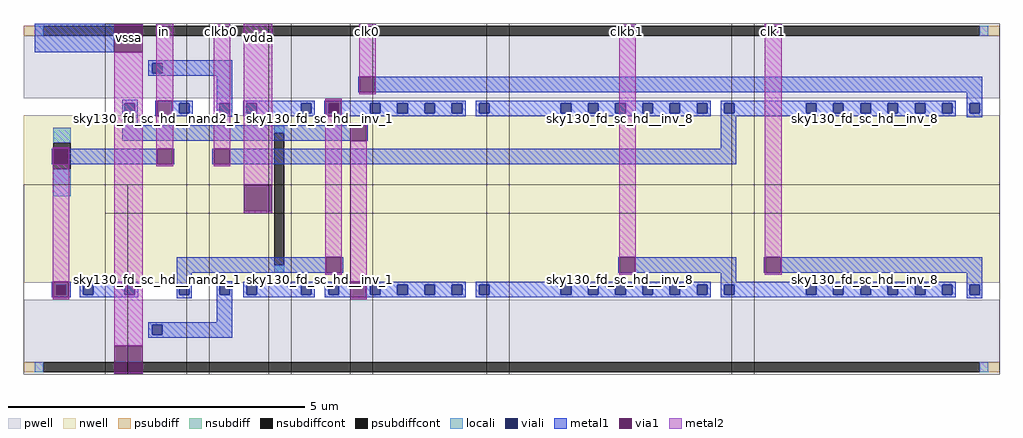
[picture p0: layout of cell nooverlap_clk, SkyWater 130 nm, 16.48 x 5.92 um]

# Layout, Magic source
magic
tech sky130A
magscale 1 2
<< nwell >>
rect -562 89 7 92
rect 13 89 2734 92
rect -562 -473 2734 89
<< pwell >>
rect -562 150 2734 360
rect -562 -742 2734 -532
<< psubdiff >>
rect -562 360 -495 394
rect 2667 360 2734 394
rect -562 -776 -495 -742
rect 2667 -776 2734 -742
<< nsubdiff >>
rect -461 -1 -403 49
rect -461 -143 -403 -91
rect 284 32 318 56
rect 284 -438 318 -414
<< psubdiffcont >>
rect -495 360 2667 394
rect -495 -776 2667 -742
<< nsubdiffcont >>
rect -461 -91 -403 -1
rect 284 -414 318 32
<< locali >>
rect -524 360 -495 394
rect 2667 360 2696 394
rect -461 -1 -403 49
rect -461 -182 -403 -91
rect 284 32 318 56
rect 284 -438 318 -414
rect -524 -776 -495 -742
rect 2667 -776 2696 -742
<< viali >>
rect -128 234 -94 268
rect -220 98 -186 132
rect -36 98 -2 132
rect 100 98 134 132
rect 192 98 226 132
rect 376 98 410 132
rect 468 98 502 132
rect 609 98 643 132
rect 701 98 735 132
rect 793 98 827 132
rect 885 98 919 132
rect 977 98 1011 132
rect 1253 98 1287 132
rect 1345 98 1379 132
rect 1437 98 1471 132
rect 1529 98 1563 132
rect 1621 98 1655 132
rect 1713 98 1747 132
rect 1805 98 1839 132
rect 2081 98 2115 132
rect 2173 98 2207 132
rect 2265 98 2299 132
rect 2357 98 2391 132
rect 2449 98 2483 132
rect 2541 98 2575 132
rect 2633 98 2667 132
rect -452 -514 -418 -480
rect -360 -514 -326 -480
rect -220 -514 -186 -480
rect -36 -514 -2 -480
rect 100 -514 134 -480
rect 192 -514 226 -480
rect 376 -514 410 -480
rect 468 -514 502 -480
rect 609 -514 643 -480
rect 701 -514 735 -480
rect 793 -514 827 -480
rect 885 -514 919 -480
rect 977 -514 1011 -480
rect 1253 -514 1287 -480
rect 1345 -514 1379 -480
rect 1437 -514 1471 -480
rect 1529 -514 1563 -480
rect 1621 -514 1655 -480
rect 1713 -514 1747 -480
rect 1805 -514 1839 -480
rect 2081 -514 2115 -480
rect 2173 -514 2207 -480
rect 2265 -514 2299 -480
rect 2357 -514 2391 -480
rect 2449 -514 2483 -480
rect 2541 -514 2575 -480
rect 2633 -514 2667 -480
rect -128 -650 -94 -616
<< metal1 >>
rect -524 395 -248 401
rect -524 305 -255 395
rect -140 268 143 277
rect -140 234 -128 268
rect -94 234 143 268
rect -140 225 143 234
rect -229 132 -177 144
rect -229 98 -220 132
rect -186 98 -177 132
rect -229 58 -177 98
rect -117 89 -111 141
rect -59 132 10 141
rect -59 98 -36 132
rect -2 98 10 132
rect -59 89 10 98
rect 91 132 143 225
rect 568 169 574 221
rect 626 169 2676 221
rect 91 98 100 132
rect 134 98 143 132
rect 91 86 143 98
rect 180 132 422 141
rect 180 98 192 132
rect 226 98 376 132
rect 410 98 422 132
rect 180 89 422 98
rect 453 89 459 141
rect 511 132 931 141
rect 511 98 609 132
rect 643 98 701 132
rect 735 98 793 132
rect 827 98 885 132
rect 919 98 931 132
rect 511 89 931 98
rect 965 132 1759 141
rect 965 98 977 132
rect 1011 98 1253 132
rect 1287 98 1345 132
rect 1379 98 1437 132
rect 1471 98 1529 132
rect 1563 98 1621 132
rect 1655 98 1713 132
rect 1747 98 1759 132
rect 965 89 1759 98
rect 1793 132 2587 141
rect 1793 98 1805 132
rect 1839 98 2081 132
rect 2115 98 2173 132
rect 2207 98 2265 132
rect 2299 98 2357 132
rect 2391 98 2449 132
rect 2483 98 2541 132
rect 2575 98 2587 132
rect 1793 89 2587 98
rect 2624 132 2676 169
rect 2624 98 2633 132
rect 2667 98 2676 132
rect -229 6 543 58
rect 595 6 601 58
rect 1793 -22 1845 89
rect 2624 85 2676 98
rect -467 -74 -461 -22
rect -409 -74 -111 -22
rect -59 -74 -53 -22
rect 76 -74 82 -22
rect 134 -74 1845 -22
rect -45 -440 459 -388
rect 511 -440 517 -388
rect 1446 -440 1452 -388
rect 1504 -440 1845 -388
rect 1938 -440 1944 -388
rect 1996 -440 2676 -388
rect -467 -523 -461 -471
rect -409 -523 -403 -471
rect -372 -480 -174 -471
rect -372 -514 -360 -480
rect -326 -514 -220 -480
rect -186 -514 -174 -480
rect -372 -523 -174 -514
rect -45 -480 7 -440
rect -45 -514 -36 -480
rect -2 -514 7 -480
rect -45 -526 7 -514
rect 91 -480 143 -468
rect 1793 -471 1845 -440
rect 91 -514 100 -480
rect 134 -514 143 -480
rect 91 -607 143 -514
rect 180 -480 422 -471
rect 180 -514 192 -480
rect 226 -514 376 -480
rect 410 -514 422 -480
rect 180 -523 422 -514
rect 456 -480 543 -471
rect 456 -514 468 -480
rect 502 -514 543 -480
rect 456 -523 543 -514
rect 595 -480 931 -471
rect 595 -514 609 -480
rect 643 -514 701 -480
rect 735 -514 793 -480
rect 827 -514 885 -480
rect 919 -514 931 -480
rect 595 -523 931 -514
rect 965 -480 1759 -471
rect 965 -514 977 -480
rect 1011 -514 1253 -480
rect 1287 -514 1345 -480
rect 1379 -514 1437 -480
rect 1471 -514 1529 -480
rect 1563 -514 1621 -480
rect 1655 -514 1713 -480
rect 1747 -514 1759 -480
rect 965 -523 1759 -514
rect 1793 -480 2587 -471
rect 1793 -514 1805 -480
rect 1839 -514 2081 -480
rect 2115 -514 2173 -480
rect 2207 -514 2265 -480
rect 2299 -514 2357 -480
rect 2391 -514 2449 -480
rect 2483 -514 2541 -480
rect 2575 -514 2587 -480
rect 1793 -523 2587 -514
rect 2624 -480 2676 -440
rect 2624 -514 2633 -480
rect 2667 -514 2676 -480
rect 2624 -526 2676 -514
rect -140 -616 143 -607
rect -140 -650 -128 -616
rect -94 -650 143 -616
rect -140 -659 143 -650
<< via1 >>
rect -255 305 -159 395
rect -111 89 -59 141
rect 574 169 626 221
rect 459 132 511 141
rect 459 98 468 132
rect 468 98 502 132
rect 502 98 511 132
rect 459 89 511 98
rect 543 6 595 58
rect -461 -74 -409 -22
rect -111 -74 -59 -22
rect 82 -74 134 -22
rect 182 -233 278 -143
rect 459 -440 511 -388
rect 1452 -440 1504 -388
rect 1944 -440 1996 -388
rect -461 -480 -409 -471
rect -461 -514 -452 -480
rect -452 -514 -418 -480
rect -418 -514 -409 -480
rect -461 -523 -409 -514
rect 543 -523 595 -471
rect -255 -777 -159 -687
<< metal2 >>
rect -255 395 -159 401
rect -463 -22 -407 -16
rect -463 -74 -461 -22
rect -409 -74 -407 -22
rect -463 -471 -407 -74
rect -463 -523 -461 -471
rect -409 -523 -407 -471
rect -463 -529 -407 -523
rect -255 -687 -159 305
rect -113 141 -57 401
rect -113 89 -111 141
rect -59 89 -57 141
rect -113 -22 -57 89
rect -113 -74 -111 -22
rect -59 -74 -57 -22
rect -113 -80 -57 -74
rect 80 -22 136 401
rect 80 -74 82 -22
rect 134 -74 136 -22
rect 80 -80 136 -74
rect 182 -143 278 401
rect 572 221 628 401
rect 572 169 574 221
rect 626 169 628 221
rect 572 163 628 169
rect 182 -239 278 -233
rect 457 141 513 147
rect 457 89 459 141
rect 511 89 513 141
rect 457 -388 513 89
rect 457 -440 459 -388
rect 511 -440 513 -388
rect 457 -446 513 -440
rect 541 58 597 64
rect 541 6 543 58
rect 595 6 597 58
rect 541 -471 597 6
rect 1450 -388 1506 401
rect 1450 -440 1452 -388
rect 1504 -440 1506 -388
rect 1450 -446 1506 -440
rect 1942 -388 1998 401
rect 1942 -440 1944 -388
rect 1996 -440 1998 -388
rect 1942 -446 1998 -440
rect 541 -523 543 -471
rect 595 -523 597 -471
rect 541 -529 597 -523
rect -255 -783 -159 -777
use sky130_fd_sc_hd__nand2_1  x1 $PDKPATH/libs.ref/sky130_fd_sc_hd/mag
transform 1 0 -248 0 -1 353
box -38 -48 314 592
use sky130_fd_sc_hd__nand2_1  x2
transform 1 0 -248 0 1 -735
box -38 -48 314 592
use sky130_fd_sc_hd__inv_1  x3 $PDKPATH/libs.ref/sky130_fd_sc_hd/mag
transform 1 0 -524 0 1 -735
box -38 -48 314 592
use sky130_fd_sc_hd__inv_1  x4
transform 1 0 28 0 -1 353
box -38 -48 314 592
use sky130_fd_sc_hd__inv_1  x5
transform 1 0 28 0 1 -735
box -38 -48 314 592
use sky130_fd_sc_hd__inv_1  x6
transform 1 0 304 0 -1 353
box -38 -48 314 592
use sky130_fd_sc_hd__inv_1  x7
transform 1 0 304 0 1 -735
box -38 -48 314 592
use sky130_fd_sc_hd__inv_4  x8 $PDKPATH/libs.ref/sky130_fd_sc_hd/mag
transform 1 0 580 0 -1 353
box -38 -48 498 592
use sky130_fd_sc_hd__inv_4  x9
transform 1 0 580 0 1 -735
box -38 -48 498 592
use sky130_fd_sc_hd__inv_8  x10 $PDKPATH/libs.ref/sky130_fd_sc_hd/mag
transform 1 0 1040 0 -1 353
box -38 -48 866 592
use sky130_fd_sc_hd__inv_8  x11
transform 1 0 1040 0 1 -735
box -38 -48 866 592
use sky130_fd_sc_hd__inv_8  x12
transform 1 0 1868 0 -1 353
box -38 -48 866 592
use sky130_fd_sc_hd__inv_8  x13
transform 1 0 1868 0 1 -735
box -38 -48 866 592
<< labels >>
flabel metal2 -113 345 -57 401 0 FreeSans 320 0 0 0 in
port 2 nsew
flabel metal2 80 345 136 401 0 FreeSans 320 0 0 0 clkb0
port 5 nsew
flabel metal2 572 345 628 401 0 FreeSans 320 0 0 0 clk0
port 4 nsew
flabel metal2 1450 345 1506 401 0 FreeSans 320 0 0 0 clkb1
port 7 nsew
flabel metal2 1942 345 1998 401 0 FreeSans 320 0 0 0 clk1
port 6 nsew
flabel metal2 -255 305 -159 401 0 FreeSans 320 0 0 0 vssa
port 3 nsew
flabel metal2 182 305 278 401 0 FreeSans 320 0 0 0 vdda
port 1 nsew
<< end >>
